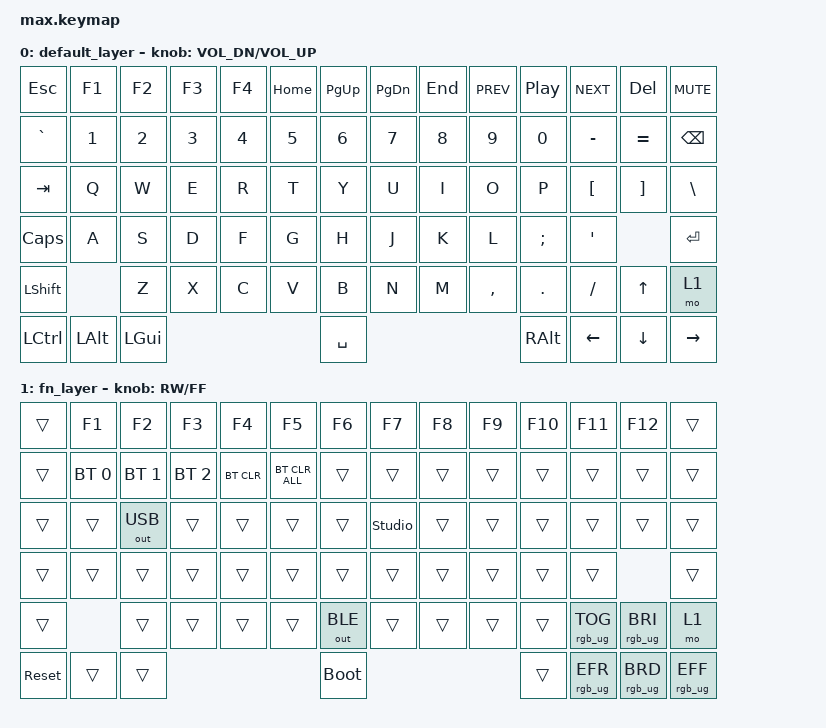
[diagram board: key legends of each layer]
/*
 * Copyright (c) 2022 The ZMK Contributors
 *
 * SPDX-License-Identifier: MIT
 */

#include <behaviors.dtsi>
#include <dt-bindings/zmk/keys.h>
#include <dt-bindings/zmk/bt.h>
#include <dt-bindings/zmk/outputs.h>
#include <dt-bindings/zmk/rgb.h>
#include <dt-bindings/zmk/ext_power.h>

/ {
	keymap {
		compatible = "zmk,keymap";

		default_layer {

			bindings = <
    &kp ESC      &kp F1       &kp F2       &kp F3       &kp F4       &kp HOME       &kp PG_UP    &kp PG_DN      &kp END      &kp C_PREV &kp C_PP   &kp C_NEXT      &kp DEL         &kp C_MUTE
    &kp GRAVE    &kp N1       &kp N2       &kp N3       &kp N4       &kp N5         &kp N6       &kp N7         &kp N8       &kp N9     &kp N0     &kp MINUS       &kp EQUAL       &kp BSPC
    &kp TAB      &kp Q        &kp W        &kp E        &kp R        &kp T          &kp Y        &kp U          &kp I        &kp O      &kp P      &kp LBKT        &kp RBKT        &kp BSLH
    &kp CAPS     &kp A        &kp S        &kp D        &kp F        &kp G          &kp H        &kp J          &kp K        &kp L      &kp SEMI   &kp SQT                         &kp ENTER
    &kp LSHFT                 &kp Z        &kp X        &kp C        &kp V          &kp B        &kp N          &kp M        &kp COMMA  &kp DOT    &kp FSLH        &kp UP          &mo 1
    &kp LCTRL    &kp LALT     &kp LGUI                                              &kp SPACE                                           &kp RALT   &kp LEFT        &kp DOWN        &kp RIGHT
			>;
			
			sensor-bindings = <&inc_dec_kp C_VOL_DN C_VOL_UP>;
			
		};

		fn_layer {

			bindings = <
    &trans       &kp F1       &kp F2       &kp F3       &kp F4       &kp F5         &kp F6       &kp F7         &kp F8       &kp F9     &kp F10    &kp F11         &kp F12         &trans
    &trans       &bt BT_SEL 0 &bt BT_SEL 1 &bt BT_SEL 2 &bt BT_CLR   &bt BT_CLR_ALL &trans       &trans         &trans       &trans     &trans     &trans          &trans          &trans
    &trans       &trans       &out OUT_USB &trans       &trans       &trans         &trans       &studio_unlock &trans       &trans     &trans     &trans          &trans          &trans
    &trans       &trans       &trans       &trans       &trans       &trans         &trans       &trans         &trans       &trans     &trans     &trans                          &trans
    &trans                    &trans       &trans       &trans       &trans         &out OUT_BLE &trans         &trans       &trans     &trans     &rgb_ug RGB_TOG &rgb_ug RGB_BRI &mo 1
    &sys_reset   &trans       &trans                                                &bootloader                                         &trans     &rgb_ug RGB_EFR &rgb_ug RGB_BRD &rgb_ug RGB_EFF
			>;

			sensor-bindings = <&inc_dec_kp C_RW C_FF>;
			
		};
	};
};

